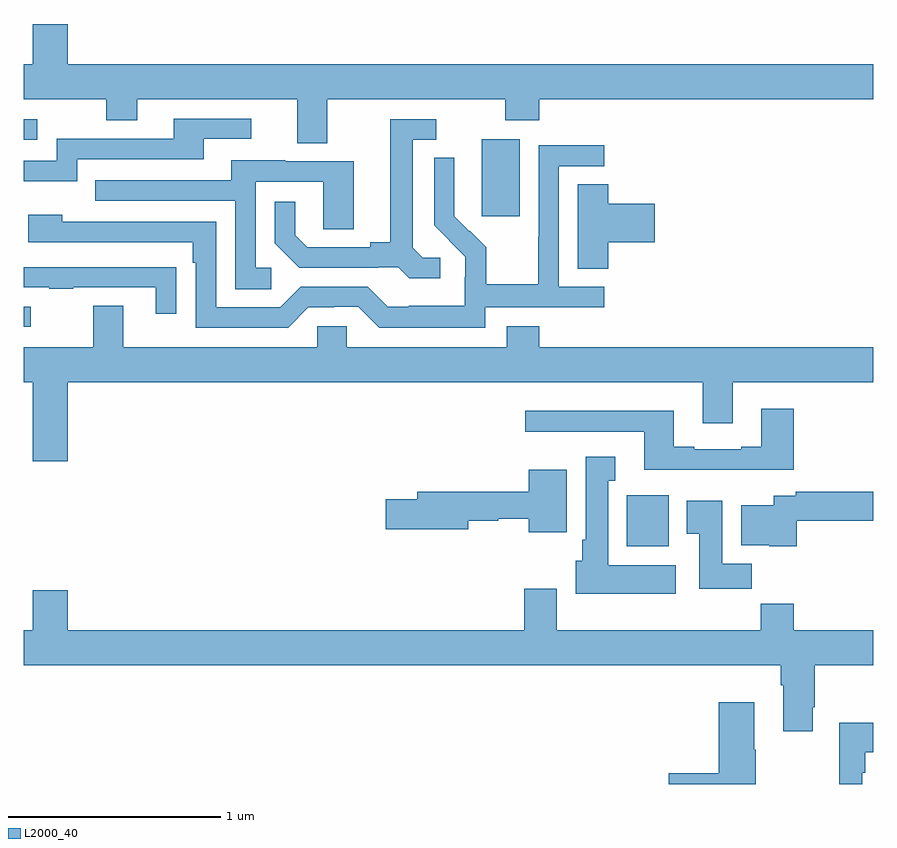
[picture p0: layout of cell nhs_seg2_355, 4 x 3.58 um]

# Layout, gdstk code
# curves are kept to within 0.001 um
import gdstk
lib = gdstk.Library(unit=1e-6, precision=1e-09)
def R(c, l, rs):  # rectangles x0, y0, x1, y1
    for r in rs: c.add(gdstk.rectangle(r[:2], r[2:], *l))
def P(c, l, *ps):  # polygons
    for p in ps: c.add(gdstk.Polygon(p, *l))
L2000_40 = (2000, 40)

nhs_seg2_355 = lib.new_cell('nhs_seg2_355')
R(nhs_seg2_355, L2000_40, [(131.84,590.918,132.037,591.16), (129,591.951,129.034,592.047), (131.156,592.473,131.335,592.834), (129,592.833,129.064,592.929)])
P(nhs_seg2_355, L2000_40, [(130.429,593.024),(131.266,593.024),(131.266,592.925),(131.426,592.925),(131.426,593.024),(133,593.024),(133,593.188),(129.208,593.188),(129.208,593.377),(129.044,593.377),(129.044,593.188),(129,593.188),(129,593.024),(129.388,593.024),(129.388,592.925),(129.535,592.925),(129.535,593.024),(130.289,593.024),(130.289,592.816),(130.429,592.816)],
  [(129.252,592.74),(129.847,592.74),(129.847,592.836),(130.072,592.836),(130.072,592.932),(129.707,592.932),(129.707,592.836),(129.156,592.836),(129.156,592.734),(129,592.734),(129,592.637),(129.252,592.637)],
  [(130.96,592.278),(130.878,592.278),(130.831,592.325),(130.831,592.833),(130.942,592.833),(130.942,592.929),(130.727,592.929),(130.727,592.349),(130.631,592.349),(130.631,592.326),(130.336,592.326),(130.279,592.383),(130.279,592.54),(130.182,592.54),(130.182,592.346),(130.298,592.23),(130.67,592.23),(130.67,592.233),(130.764,592.233),(130.816,592.181),(130.96,592.181)],
  [(131.172,592.044),(131.734,592.044),(131.734,592.14),(131.52,592.14),(131.52,592.707),(131.734,592.707),(131.734,592.806),(131.424,592.806),(131.424,592.376),(131.422,592.376),(131.422,592.153),(131.177,592.153),(131.177,592.327),(131.1,592.404),(131.097,592.401),(131.027,592.472),(131.028,592.748),(130.932,592.748),(130.932,592.43),(131.078,592.282),(131.078,592.185),(131.076,592.185),(131.076,592.051),(130.813,592.051),(130.813,592.047),(130.713,592.047),(130.62,592.14),(130.305,592.14),(130.209,592.044),(129.906,592.044),(129.906,592.446),(129.182,592.446),(129.182,592.48),(129.021,592.48),(129.021,592.35),(129.797,592.35),(129.797,592.253),(129.81,592.253),(129.81,591.948),(130.245,591.948),(130.341,592.044),(130.46,592.044),(130.46,592.047),(130.575,592.047),(130.675,591.947),(131.172,591.947)],
  [(130.165,592.23),(130.092,592.23),(130.092,592.635),(130.41,592.635),(130.41,592.411),(130.555,592.411),(130.555,592.731),(130.231,592.731),(130.231,592.735),(129.977,592.735),(129.977,592.641),(129.337,592.641),(129.337,592.545),(129.996,592.545),(129.996,592.129),(130.165,592.129)],
  [(131.753,592.349),(131.971,592.349),(131.971,592.532),(131.753,592.532),(131.753,592.622),(131.609,592.622),(131.609,592.225),(131.753,592.225)],
  [(129.719,592.232),(129.617,592.232),(129.617,592.233),(129,592.233),(129,592.137),(129.121,592.137),(129.121,592.132),(129.233,592.132),(129.233,592.137),(129.623,592.137),(129.623,592.014),(129.719,592.014)],
  [(129.208,591.692),(132.197,591.692),(132.197,591.498),(132.337,591.498),(132.337,591.692),(133,591.692),(133,591.856),(131.426,591.856),(131.426,591.955),(131.273,591.955),(131.273,591.856),(130.521,591.856),(130.521,591.954),(130.383,591.954),(130.383,591.856),(129.469,591.856),(129.469,592.051),(129.329,592.051),(129.329,591.856),(129,591.856),(129,591.692),(129.044,591.692),(129.044,591.318),(129.208,591.318)],
  [(132.626,591.565),(132.473,591.565),(132.473,591.388),(132.377,591.388),(132.377,591.375),(132.157,591.375),(132.157,591.388),(132.061,591.388),(132.061,591.556),(131.361,591.556),(131.361,591.459),(131.921,591.459),(131.921,591.278),(132.626,591.278)],
  [(132.07,590.83),(131.752,590.83),(131.752,591.227),(131.785,591.227),(131.785,591.34),(131.645,591.34),(131.645,590.95),(131.63,590.95),(131.63,590.85),(131.6,590.85),(131.6,590.696),(132.07,590.696)],
  [(131.557,591.28),(131.378,591.28),(131.378,591.176),(130.853,591.176),(130.853,591.14),(130.704,591.14),(130.704,590.998),(131.092,590.998),(131.092,591.04),(131.235,591.04),(131.235,591.048),(131.378,591.048),(131.378,590.984),(131.557,590.984)],
  [(132.64,591.04),(133,591.04),(133,591.176),(132.634,591.176),(132.634,591.156),(132.531,591.156),(132.531,591.112),(132.377,591.112),(132.377,590.924),(132.51,590.924),(132.51,590.918),(132.64,590.918)],
  [(132.428,590.836),(132.289,590.836),(132.289,591.133),(132.122,591.133),(132.122,590.977),(132.179,590.977),(132.179,590.718),(132.428,590.718)],
  [(132.715,590.161),(132.723,590.161),(132.723,590.36),(133,590.36),(133,590.524),(132.626,590.524),(132.626,590.648),(132.469,590.648),(132.469,590.524),(131.509,590.524),(131.509,590.719),(131.357,590.719),(131.357,590.524),(129.208,590.524),(129.208,590.713),(129.044,590.713),(129.044,590.524),(129,590.524),(129,590.36),(132.563,590.36),(132.563,590.264),(132.575,590.264),(132.575,590.049),(132.715,590.049)],
  [(132.447,589.961),(132.439,589.961),(132.439,590.185),(132.272,590.185),(132.272,589.85),(132.036,589.85),(132.036,589.8),(132.447,589.8)],
  [(132.948,589.853),(132.961,589.853),(132.961,589.949),(133,589.949),(133,590.089),(132.84,590.089),(132.84,589.8),(132.948,589.8)])

lib.write_gds('nhs_seg2_355.gds')
